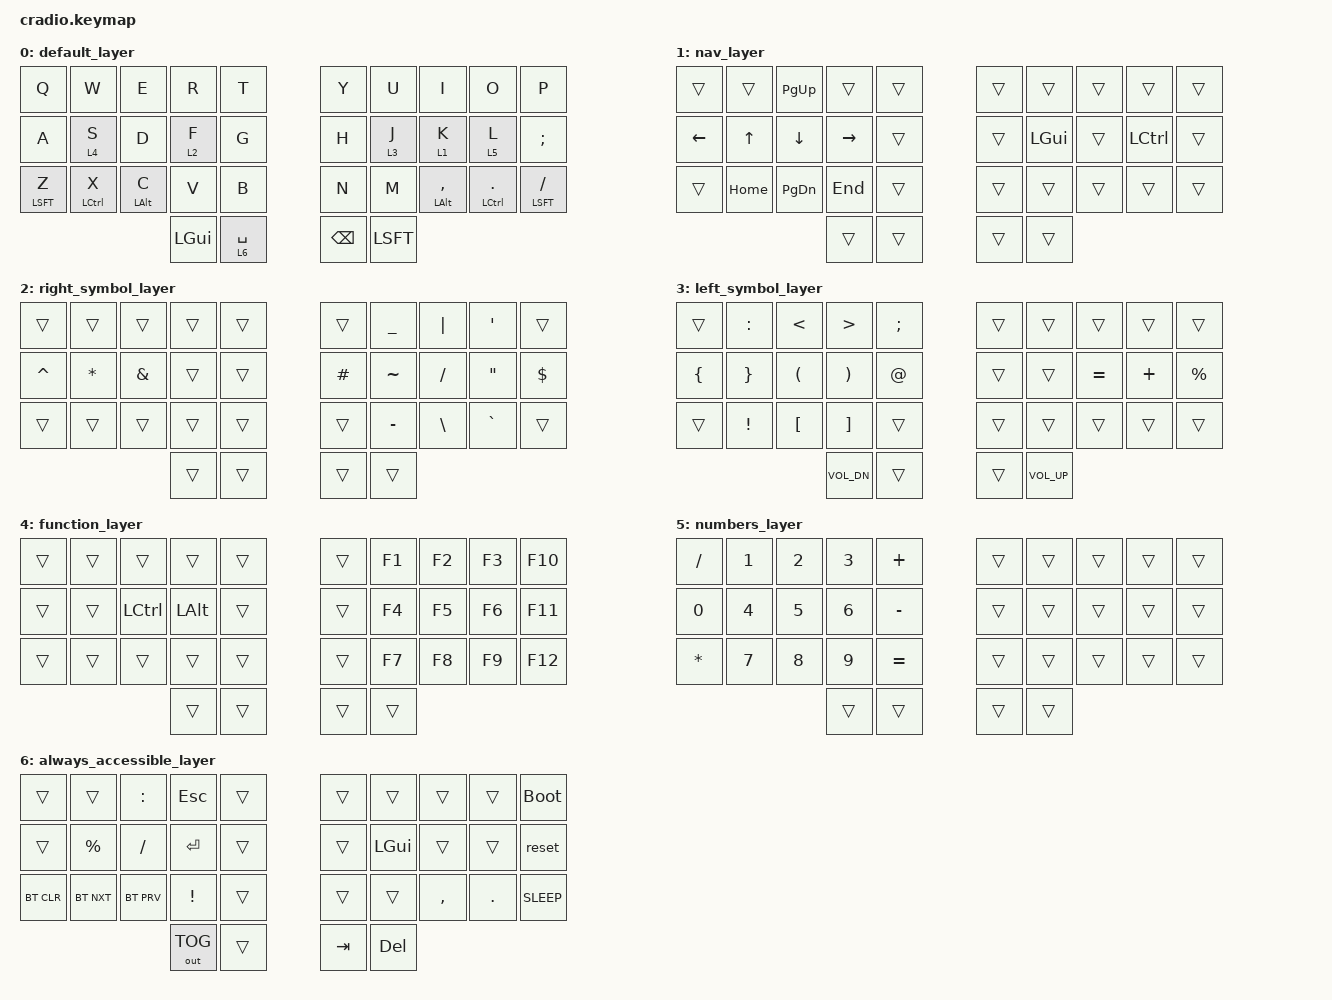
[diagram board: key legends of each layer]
/*
 * Copyright (c) 2020 The ZMK Contributors
 *
 * SPDX-License-Identifier: MIT
 */

#include <behaviors.dtsi>
#include <dt-bindings/zmk/keys.h>
#include <dt-bindings/zmk/outputs.h>
#include <dt-bindings/zmk/bt.h>

#define BASE 0
#define NAV 1
#define RSYM 2
#define LSYM 3
#define FUNC 4
#define NUM 5
#define CHORD 6

&mt {
  //  flavor = "tap-preferred";
   // tapping_term_ms = <200>;
};

/ { 

    combos {
        compatible = "zmk,combos";
        combo_esc {
            timeout-ms = <50>;
            key-positions = <0 1>;
            bindings = <&kp ESC>;
        };
        
         combo_tab {
            timeout-ms = <50>;
            key-positions = <10 11>;
            bindings = <&kp TAB>;
        };
        
            combo_ralt {
            timeout-ms = <50>;
            key-positions = <17 16>;
            bindings = <&kp RALT>;
        };
        
                    combo_lalt {
            timeout-ms = <50>;
            key-positions = <11 12>;
            bindings = <&kp LALT>;
        };
        
                           combo_lgui {
            timeout-ms = <50>;
            key-positions = <12 13>;
            bindings = <&kp LGUI>;
        };
        
        
           combo_rgui {
            timeout-ms = <50>;
            key-positions = <17 18>;
            bindings = <&kp RGUI>;
        };
        

        
    };

    keymap {
      	compatible = "zmk,keymap";
                
       	default_layer {
		bindings = <
		// ╭─────────────┬─────────────┬─────────────┬─────────────┬─────────────╮ ╭─────────────┬─────────────┬─────────────┬─────────────┬─────────────╮
		    &kp Q         &kp W         &kp E         &kp R         &kp T 			&kp Y         &kp U         &kp I         &kp O         &kp P 
		// ├─────────────┼─────────────┼─────────────┼─────────────┼─────────────┤ ├─────────────┼─────────────┼─────────────┼─────────────┼─────────────┤
		    &kp A         &lt 4 S       &kp D         &lt 2 F       &kp G 			&kp H         &lt 3 J       &lt 1 K       &lt 5 L       &kp SEMI
		// ├─────────────┼─────────────┼─────────────┼─────────────┼─────────────┤ ├─────────────┼─────────────┼─────────────┼─────────────┼─────────────┤
		    &mt LSFT Z    &mt LCTL X    &mt LALT C    &kp V         &kp B		    &kp N         &kp M         &mt LALT CMMA &mt LCTL DOT  &mt LSFT FSLH
		// ╰─────────────┴─────────────┴─────────────┼─────────────┼─────────────┤ ├─────────────┼─────────────┼─────────────┴─────────────┴─────────────╯
          				                               &kp LGUI     &lt 6 SPACE 	&kp BKSP      &kp LSFT 
        //                                           ╰─────────────┴─────────────╯ ╰─────────────┴─────────────╯
		>;
		};

       	nav_layer {
		bindings = <
		// ╭─────────────┬─────────────┬─────────────┬─────────────┬─────────────╮ ╭─────────────┬─────────────┬─────────────┬─────────────┬─────────────╮
		    &trans        &trans        &kp PG_UP     &trans        &trans 		    &trans        &trans        &trans        &trans        &trans  
		// ├─────────────┼─────────────┼─────────────┼─────────────┼─────────────┤ ├─────────────┼─────────────┼─────────────┼─────────────┼─────────────┤
		    &kp LEFT      &kp UP        &kp DOWN      &kp RIGHT     &trans 		    &trans        &kp LGUI      &trans        &kp LCTL      &trans
		// ├─────────────┼─────────────┼─────────────┼─────────────┼─────────────┤ ├─────────────┼─────────────┼─────────────┼─────────────┼─────────────┤
		    &trans        &kp HOME 	    &kp PG_DN     &kp END       &trans          &trans        &trans        &trans        &trans        &trans 
		// ╰─────────────┴─────────────┴─────────────┼─────────────┼─────────────┤ ├─────────────┼─────────────┼─────────────┴─────────────┴─────────────╯
					                                  &trans        &trans          &trans        &trans 
	    //                                           ╰─────────────┴─────────────╯ ╰─────────────┴─────────────╯
		>; 
		};
		
		right_symbol_layer {
		bindings = <
		// ╭─────────────┬─────────────┬─────────────┬─────────────┬─────────────╮ ╭─────────────┬─────────────┬─────────────┬─────────────┬─────────────╮
		    &trans        &trans        &trans        &trans        &trans    	    &trans        &kp UNDER     &kp PIPE      &kp SQT       &trans
		// ├─────────────┼─────────────┼─────────────┼─────────────┼─────────────┤ ├─────────────┼─────────────┼─────────────┼─────────────┼─────────────┤
		    &kp CARET     &kp STAR      &kp AMPS      &trans        &trans 		    &kp HASH      &kp TILDE     &kp FSLH      &kp DQT       &kp DOLLAR
		// ├─────────────┼─────────────┼─────────────┼─────────────┼─────────────┤ ├─────────────┼─────────────┼─────────────┼─────────────┼─────────────┤
		    &trans        &trans        &trans        &trans        &trans          &trans        &kp MINUS     &kp BSLH      &kp GRAVE     &trans
		// ╰─────────────┴─────────────┴─────────────┼─────────────┼─────────────┤ ├─────────────┼─────────────┼─────────────┴─────────────┴─────────────╯
					                                  &trans        &trans          &trans        &trans
		//                                           ╰─────────────┴─────────────╯ ╰─────────────┴─────────────╯
		>;
		};	
		
		left_symbol_layer {
			bindings = <
		// ╭─────────────┬─────────────┬─────────────┬─────────────┬─────────────╮ ╭─────────────┬─────────────┬─────────────┬─────────────┬─────────────╮
		    &trans        &kp COLON     &kp LT        &kp GT        &kp SEMI    	&trans        &trans        &trans        &trans        &trans 
		// ├─────────────┼─────────────┼─────────────┼─────────────┼─────────────┤ ├─────────────┼─────────────┼─────────────┼─────────────┼─────────────┤
		    &kp LBRC      &kp RBRC      &kp LPAR      &kp RPAR      &kp AT 		    &trans        &trans        &kp EQUAL     &kp PLUS      &kp PERCENT
		// ├─────────────┼─────────────┼─────────────┼─────────────┼─────────────┤ ├─────────────┼─────────────┼─────────────┼─────────────┼─────────────┤
		    &trans        &kp EXCL      &kp LBKT      &kp RBKT      &trans          &trans        &trans        &trans        &trans        &trans 
		// ╰─────────────┴─────────────┴─────────────┼─────────────┼─────────────┤ ├─────────────┼─────────────┼─────────────┴─────────────┴─────────────╯
					                                  &kp K_VOL_DN  &trans          &trans        &kp K_VOL_UP
		//                                           ╰─────────────┴─────────────╯ ╰─────────────┴─────────────╯
			>;
		};

		function_layer {
			bindings = <
		// ╭─────────────┬─────────────┬─────────────┬─────────────┬─────────────╮ ╭─────────────┬─────────────┬─────────────┬─────────────┬─────────────╮
		    &trans        &trans        &trans        &trans        &trans	        &trans        &kp F1        &kp F2        &kp F3        &kp F10
		// ├─────────────┼─────────────┼─────────────┼─────────────┼─────────────┤ ├─────────────┼─────────────┼─────────────┼─────────────┼─────────────┤
		    &trans        &trans        &kp LCTL      &kp LALT      &trans   		&trans        &kp F4        &kp F5        &kp F6        &kp F11
	    // ├─────────────┼─────────────┼─────────────┼─────────────┼─────────────┤ ├─────────────┼─────────────┼─────────────┼─────────────┼───────────── 
		    &trans        &trans        &trans        &trans        &trans   		&trans        &kp F7        &kp F8        &kp F9        &kp F12
		// ╰─────────────┴─────────────┴─────────────┼─────────────┼─────────────┤ ├─────────────┼─────────────┼─────────────┴─────────────┴─────────────╯
					                                  &trans        &trans  		&trans        &trans
		//                                           ╰─────────────┴─────────────╯ ╰─────────────┴─────────────╯
			>;
		};

		numbers_layer {
			bindings = <
		// ╭─────────────┬─────────────┬─────────────┬─────────────┬─────────────╮ ╭─────────────┬─────────────┬─────────────┬─────────────┬─────────────╮
		    &kp FSLH      &kp N1        &kp N2        &kp N3        &kp PLUS    	&trans        &trans        &trans        &trans        &trans 
		// ├─────────────┼─────────────┼─────────────┼─────────────┼─────────────┤ ├─────────────┼─────────────┼─────────────┼─────────────┼─────────────┤
		    &kp N0        &kp N4        &kp N5        &kp N6        &kp MINUS 		&trans        &trans        &trans        &trans        &trans
		// ├─────────────┼─────────────┼─────────────┼─────────────┼─────────────┤ ├─────────────┼─────────────┼─────────────┼─────────────┼─────────────┤
		    &kp STAR      &kp N7        &kp N8        &kp N9        &kp EQUAL       &trans        &trans        &trans        &trans        &trans
		// ╰─────────────┴─────────────┴─────────────┼─────────────┼─────────────┤ ├─────────────┼─────────────┼─────────────┴─────────────┴─────────────╯
					                                  &trans        &trans  		&trans        &trans
		//                                           ╰─────────────┴─────────────╯ ╰─────────────┴─────────────╯
			>;
		};	
		
		always_accessible_layer {
		bindings = <
		// ╭─────────────┬─────────────┬─────────────┬─────────────┬─────────────╮ ╭─────────────┬─────────────┬─────────────┬─────────────┬─────────────╮
		    &trans        &trans        &kp COLON     &kp ESC       &trans 	        &trans        &trans        &trans        &trans        &bootloader
		// ├─────────────┼─────────────┼─────────────┼─────────────┼─────────────┤ ├─────────────┼─────────────┼─────────────┼─────────────┼─────────────┤
		    &trans        &kp PERCENT   &kp FSLH      &kp ENTER     &trans          &trans        &kp LGUI      &trans        &trans        &reset
	    // ├─────────────┼─────────────┼─────────────┼─────────────┼─────────────┤ ├─────────────┼─────────────┼─────────────┼─────────────┼───────────── 
		    &bt BT_CLR    &bt BT_NXT    &bt BT_PRV    &kp EXCL      &trans   		&trans        &trans        &kp CMMA      &kp DOT       &kp K_SLEEP
		// ╰─────────────┴─────────────┴─────────────┼─────────────┼─────────────┤ ├─────────────┼─────────────┼─────────────┴─────────────┴─────────────╯
					                                  &out OUT_TOG        &trans  		&kp TAB       &kp DEL
		//                                           ╰─────────────┴─────────────╯ ╰─────────────┴─────────────╯
		>;
		};
        
	};

};
